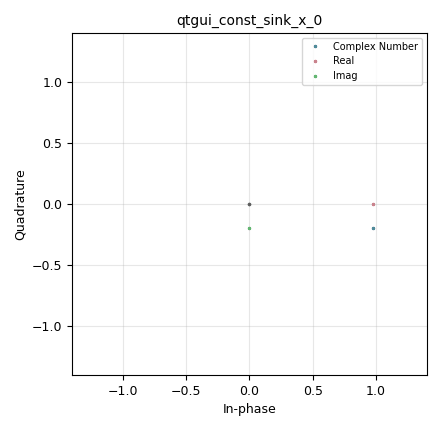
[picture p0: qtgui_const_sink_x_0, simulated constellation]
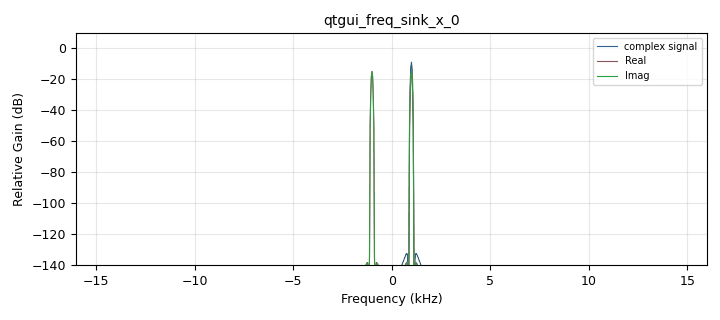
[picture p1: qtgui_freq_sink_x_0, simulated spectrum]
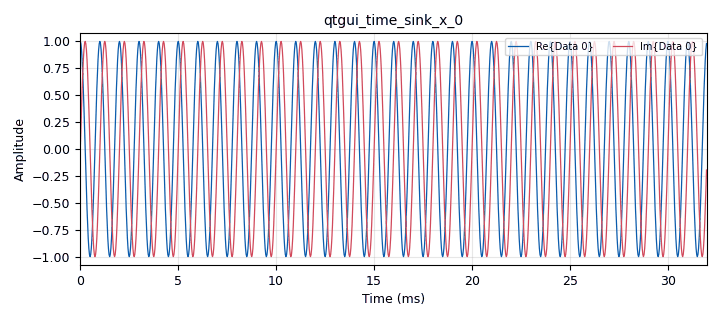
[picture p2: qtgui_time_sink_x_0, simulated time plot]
options:
  parameters:
    generate_options: qt_gui
    id: iq_representation
    output_language: python
  states: {}

blocks:
- name: amp_a
  id: variable_qtgui_range
  parameters:
    label: 'cos Amplitude '
    orient: Qt.Horizontal
    start: '0'
    step: '0.01'
    stop: '1'
    value: '1'
  states: {}
- name: freq_a
  id: variable_qtgui_range
  parameters:
    label: cos Frequency
    orient: Qt.Horizontal
    start: 1e2
    step: '1'
    stop: samp_rate/2
    value: 1e3
  states: {}
- name: samp_rate
  id: variable
  parameters:
    value: '32000'
  states: {}
- name: vlen
  id: variable
  parameters:
    value: '1024'
  states: {}
- name: analog_sig_source_x_0
  id: analog_sig_source_x
  parameters:
    amp: amp_a
    freq: freq_a
    offset: '0'
    phase: '0'
    samp_rate: samp_rate
    type: complex
    waveform: analog.GR_COS_WAVE
  states: {}
- name: blocks_complex_to_float_0
  id: blocks_complex_to_float
  parameters: {}
  states: {}
- name: blocks_float_to_complex_0
  id: blocks_float_to_complex
  parameters:
    comment: Get the I part
  states: {}
- name: blocks_float_to_complex_0_0
  id: blocks_float_to_complex
  parameters:
    comment: Get the Q part
  states: {}
- name: blocks_interleave_0
  id: blocks_interleave
  parameters:
    comment: |-
      Simple trick for visualization 
      of I and Q distance from 0,0

      Do not bother!
    type: complex
  states: {}
- name: blocks_interleave_0_0
  id: blocks_interleave
  parameters:
    comment: |-
      Simple trick for visualization 
      of I and Q distance from 0,0

      Do not bother!
    type: complex
  states: {}
- name: blocks_interleave_0_0_0
  id: blocks_interleave
  parameters:
    comment: |-
      Simple trick for visualization 
      of I and Q distance from 0,0

      Do not bother!
    type: complex
  states: {}
- name: blocks_null_source_0
  id: blocks_null_source
  parameters:
    type: float
  states: {}
- name: blocks_null_source_0_0
  id: blocks_null_source
  parameters:
    type: complex
  states: {}
- name: blocks_null_source_0_0_0
  id: blocks_null_source
  parameters:
    type: complex
  states: {}
- name: blocks_null_source_0_0_1
  id: blocks_null_source
  parameters:
    type: complex
  states: {}
- name: blocks_throttle_0
  id: blocks_throttle
  parameters:
    samples_per_second: samp_rate
    type: complex
  states: {}
- name: qtgui_const_sink_x_0
  id: qtgui_const_sink_x
  parameters:
    alpha3: '2.0'
    color2: '"Dark Blue"'
    color3: '"red"'
    grid: 'True'
    gui_hint: tab@0
    label1: Complex Number
    label2: Real
    label3: Imag
    marker2: '8'
    marker3: '8'
    nconnections: '3'
    size: '2'
    style1: '1'
    style2: '1'
    style3: '1'
    type: complex
    update_time: '0.010'
    width1: '2'
    width2: '2'
    width3: '2'
    xmax: '1.4'
    xmin: '-1.4'
    ymax: '1.4'
    ymin: '-1.4'
  states: {}
- name: qtgui_freq_sink_x_0
  id: qtgui_freq_sink_x
  parameters:
    bw: samp_rate
    fc: '0'
    fftsize: '1024'
    gui_hint: tab@2
    label1: complex signal
    label2: 'Real '
    label3: Imag
    nconnections: '3'
    showports: 'True'
    type: complex
    wintype: firdes.WIN_BLACKMAN_hARRIS
  states: {}
- name: qtgui_time_sink_x_0
  id: qtgui_time_sink_x
  parameters:
    gui_hint: tab@1
    label1: ''
    label2: ''
    size: '1024'
    srate: samp_rate
    type: complex
  states: {}
- name: tab
  id: qtgui_tab_widget
  parameters:
    label0: Complex plane
    label1: Time Domain
    label2: Frequency Domain
    num_tabs: '3'
  states: {}

connections:
- [analog_sig_source_x_0, '0', blocks_throttle_0, '0']
- [blocks_complex_to_float_0, '0', blocks_float_to_complex_0, '0']
- [blocks_complex_to_float_0, '1', blocks_float_to_complex_0_0, '1']
- [blocks_float_to_complex_0, '0', blocks_interleave_0_0, '0']
- [blocks_float_to_complex_0, '0', qtgui_freq_sink_x_0, '1']
- [blocks_float_to_complex_0_0, '0', blocks_interleave_0_0_0, '0']
- [blocks_float_to_complex_0_0, '0', qtgui_freq_sink_x_0, '2']
- [blocks_interleave_0, '0', qtgui_const_sink_x_0, '0']
- [blocks_interleave_0_0, '0', qtgui_const_sink_x_0, '1']
- [blocks_interleave_0_0_0, '0', qtgui_const_sink_x_0, '2']
- [blocks_null_source_0, '0', blocks_float_to_complex_0_0, '0']
- [blocks_null_source_0_0, '0', blocks_interleave_0, '1']
- [blocks_null_source_0_0_0, '0', blocks_interleave_0_0_0, '1']
- [blocks_null_source_0_0_1, '0', blocks_interleave_0_0, '1']
- [blocks_throttle_0, '0', blocks_complex_to_float_0, '0']
- [blocks_throttle_0, '0', blocks_interleave_0, '0']
- [blocks_throttle_0, '0', qtgui_freq_sink_x_0, '0']
- [blocks_throttle_0, '0', qtgui_time_sink_x_0, '0']

metadata:
  file_format: 1
